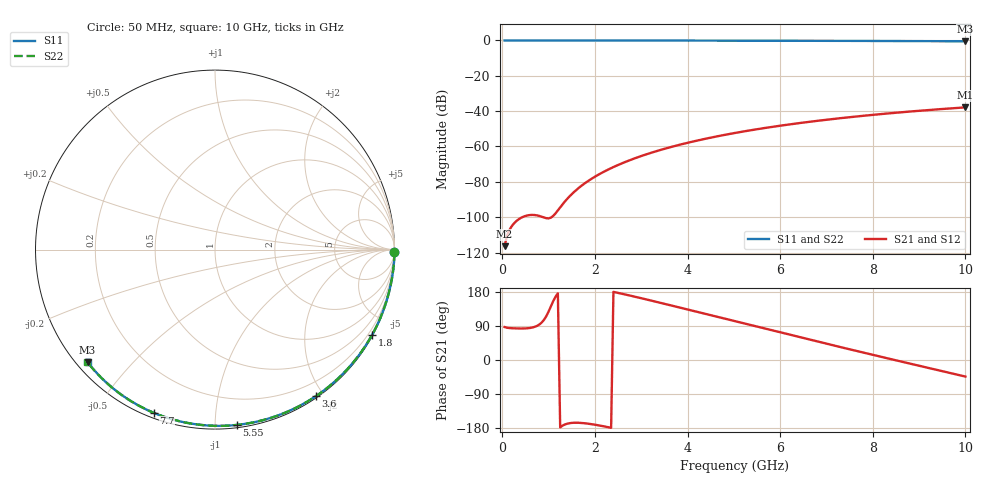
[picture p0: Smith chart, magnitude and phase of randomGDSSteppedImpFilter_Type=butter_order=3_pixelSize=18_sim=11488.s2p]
! freq	dB(S11)	phase(S11)	dB(S12)	phase(S12)
!  dB(S21)	phase(S21)	dB(S22)	phase(S22)
!S-par simulation data
#  GHz  S  DB  R 50
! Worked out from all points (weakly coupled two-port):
!   200 points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, 50 MHz to 10 GHz, reference 50 ohm
!   highest |S21| = -37.86 dB at 10 GHz (marker M1); lowest = -116.4 dB at 50 MHz (marker M2)
!   lowest |S11| = -0.5 dB at 10 GHz (marker M3), VSWR 36.90, Z = 1.55 - j18.9 ohm
!   |S11| at or under -10 dB: nowhere
!   |S22| runs from -0.5 to 0.0 dB; largest |S21 - S12| = 0
!   S11 on the Smith chart (normalised r, x): 50 MHz: open; 1.8 GHz: 0.03, -3.95; 3.6 GHz: 0.02, -1.90; 5.55 GHz: 0.02, -1.13; 7.7 GHz: 0.02, -0.69; 10 GHz: 0.03, -0.38
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0.05  -0.00 -0.8  -116.40 87.0  -116.40 87.0  -0.00 -0.8
0.45  -0.01 -7.2  -99.79 83.2  -99.79 83.2  -0.01 -7.2
0.9  -0.02 -14.4  -100.19 106.0  -100.19 106.0  -0.02 -14.4
1.75  -0.04 -27.7  -81.43 -166.6  -81.43 -166.6  -0.04 -27.7
1.8  -0.04 -28.4  -80.48 -167.2  -80.48 -167.2  -0.04 -28.5
1.85  -0.04 -29.2  -79.58 -168.0  -79.58 -168.0  -0.04 -29.2
2.05  -0.04 -32.3  -76.33 -171.8  -76.33 -171.8  -0.04 -32.3
2.25  -0.05 -35.4  -73.52 -176.4  -73.52 -176.4  -0.05 -35.4
2.55  -0.05 -39.9  -69.89 175.8  -69.89 175.8  -0.05 -40.0
2.95  -0.06 -45.9  -65.86 164.5  -65.86 164.5  -0.06 -46.0
3.4  -0.07 -52.6  -62.08 151.3  -62.08 151.3  -0.07 -52.6
3.6  -0.07 -55.5  -60.59 145.3  -60.59 145.3  -0.07 -55.6
3.9  -0.08 -59.9  -58.55 136.3  -58.55 136.3  -0.08 -59.9
4.3  -0.09 -65.6  -56.11 124.2  -56.11 124.2  -0.09 -65.6
5.05  -0.12 -76.0  -52.22 101.5  -52.22 101.5  -0.12 -76.1
5.55  -0.14 -82.8  -50.02 86.3  -50.02 86.3  -0.14 -82.9
6.1  -0.16 -90.1  -47.87 69.8  -47.87 69.8  -0.16 -90.2
6.7  -0.19 -97.9  -45.81 51.9  -45.81 51.9  -0.19 -98.0
7.7  -0.25 -110.6  -42.88 22.4  -42.88 22.4  -0.25 -110.6
8.35  -0.30 -118.6  -41.25 3.5  -41.25 3.5  -0.30 -118.7
9.2  -0.38 -128.9  -39.38 -20.9  -39.38 -20.9  -0.38 -129.0
10  -0.47 -138.6  -37.86 -43.7  -37.86 -43.7  -0.47 -138.7
